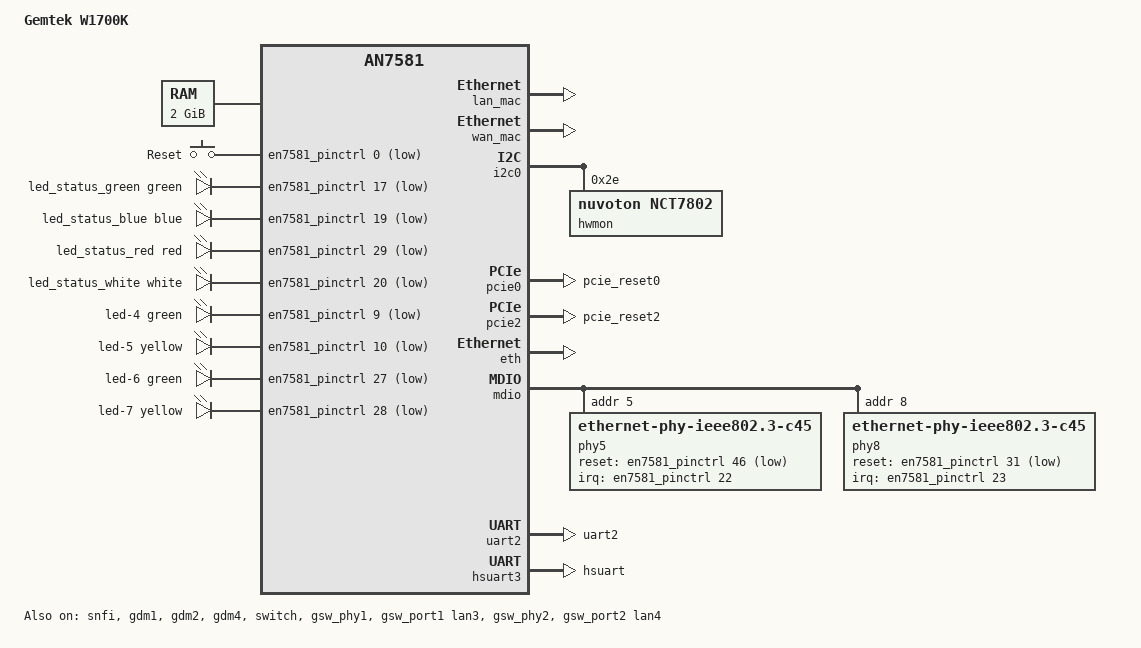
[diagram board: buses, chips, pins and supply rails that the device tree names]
// SPDX-License-Identifier: GPL-2.0-or-later OR MIT

/dts-v1/;

/* Bootloader installs ATF here */
/memreserve/ 0x80000000 0x200000;

#include <dt-bindings/leds/common.h>
#include <dt-bindings/gpio/gpio.h>
#include <dt-bindings/input/input.h>
#include "an7581.dtsi"

/ {
	model = "Gemtek W1700K";
	compatible = "gemtek,w1700k", "airoha,an7581";
	/* drop "airoha,en7581" as cpufreq doesn't work */

	aliases {
		serial0 = &uart1;
		led-boot = &led_status_red;
		led-failsafe = &led_status_blue;
		led-upgrade = &led_status_blue;
		led-running = &led_status_green;
	};

	chosen {
		bootargs = "console=ttyS0,115200 earlycon";
		stdout-path = "serial0:115200n8";
		linux,usable-memory-range = <0x0 0x80200000 0x0 0x7fe00000>;
	};

	memory@80000000 {
		device_type = "memory";
		reg = <0x0 0x80000000 0x0 0x80000000>;
	};

	keys {
		compatible = "gpio-keys";

		key-restart {
			label = "Reset";
			gpios = <&en7581_pinctrl 0 GPIO_ACTIVE_LOW>;
			linux,code = <KEY_RESTART>;
		};
	};

	leds {
		compatible = "gpio-leds";

		led_status_green: led-0 {
			color = <LED_COLOR_ID_GREEN>;
			function = LED_FUNCTION_STATUS;
			gpios = <&en7581_pinctrl 17 GPIO_ACTIVE_LOW>;
		};

		led_status_blue: led-1 {
			color = <LED_COLOR_ID_BLUE>;
			function = LED_FUNCTION_STATUS;
			gpios = <&en7581_pinctrl 19 GPIO_ACTIVE_LOW>;
		};

		led_status_red: led-2 {
			color = <LED_COLOR_ID_RED>;
			function = LED_FUNCTION_STATUS;
			gpios = <&en7581_pinctrl 29 GPIO_ACTIVE_LOW>;
		};

		led_status_white: led-3 {
			color = <LED_COLOR_ID_WHITE>;
			function = LED_FUNCTION_STATUS;
			gpios = <&en7581_pinctrl 20 GPIO_ACTIVE_LOW>;
		};

		led-4 {
			color = <LED_COLOR_ID_GREEN>;
			function = LED_FUNCTION_LAN;
			function-enumerator = <3>;
			gpios = <&en7581_pinctrl 9 GPIO_ACTIVE_LOW>;
		};

		led-5 {
			color = <LED_COLOR_ID_YELLOW>;
			function = LED_FUNCTION_LAN;
			function-enumerator = <3>;
			gpios = <&en7581_pinctrl 10 GPIO_ACTIVE_LOW>;
		};

		led-6 {
			color = <LED_COLOR_ID_GREEN>;
			function = LED_FUNCTION_LAN;
			function-enumerator = <4>;
			gpios = <&en7581_pinctrl 27 GPIO_ACTIVE_LOW>;
		};

		led-7 {
			color = <LED_COLOR_ID_YELLOW>;
			function = LED_FUNCTION_LAN;
			function-enumerator = <4>;
			gpios = <&en7581_pinctrl 28 GPIO_ACTIVE_LOW>;
		};
	};
};

&en7581_pinctrl {
	gpio-ranges = <&en7581_pinctrl 0 13 47>;

	mdio_pins: mdio-pins {
		mux {
			function = "mdio";
			groups = "mdio";
		};

		conf {
			pins = "gpio2";
			output-high;
		};
	};

	pcie0_rst_pins: pcie0-rst-pins {
		conf {
			pins = "pcie_reset0";
			drive-open-drain = <1>;
		};
	};

	pcie2_rst_pins: pcie2-rst-pins {
		conf {
			pins = "pcie_reset2";
			drive-open-drain = <1>;
		};
	};

	/* W1700K does not use the built-in LED controller. Instead, it uses GPIO.
	 * The driver fails to probe without gswpX_led0_pins defined, so put a dummy
	 * here.
	 */

	gswp1_led0_pins: gswp1-led0-pins {
		mux {
			function = "phy1_led0";
			pins = "gpio33";
		};
	};

	gswp2_led0_pins: gswp2-led0-pins {
		mux {
			function = "phy2_led0";
			pins = "gpio34";
		};
	};

	uart2_pins: uart2-pins {
		mux {
			function = "uart";
			groups = "uart2";
		};
	};

	hsuart_pins: hsuart-pins {
		mux {
			function = "uart";
			groups = "hsuart";
		};
	};
};

&snfi {
	status = "okay";
};

&spi_nand {
	#address-cells = <1>;
	#size-cells = <1>;
	partitions {
		compatible = "fixed-partitions";
		#address-cells = <1>;
		#size-cells = <1>;

		partition@0 {
			label = "bootloader";
			reg = <0x00000000 0x00200000>;
			read-only;
		};

		partition@200000 {
			label = "uenv";
			reg = <0x00200000 0x00200000>;
		};

		partition@400000 {
			label = "dsd";
			reg = <0x00400000 0x00200000>;
			read-only;

			nvmem-layout {
				compatible = "ascii-eq-delim-env";
				#address-cells = <1>;
				#size-cells = <1>;

				lan_mac: lan_mac {
					compatible = "mac-base";
					#nvmem-cell-cells = <1>;
				};

				wan_mac: wan_mac {
					compatible = "mac-base";
					#nvmem-cell-cells = <1>;
				};
			};

			nvmem-layout@5000 {
				compatible = "fixed-layout";
				#address-cells = <1>;
				#size-cells = <1>;

				eeprom_factory_5000: eeprom@5000 {
					reg = <0x5000 0x1e00>;
				};
			};
		};

		partition@600000 {
			label = "kernel";
			reg = <0x00600000 0x01000000>;
		};

		partition@1600000 {
			label = "rootfs";
			reg = <0x01600000 0x1e800000>;
			compatible = "linux,ubi";
		};

		/* reserved for bad block table */
		reserved_bmt@1fe00000 {
			label = "reserved_bmt";
			reg = <0x1fe00000 0x00200000>;
			read-only;
		};
	};
};

&i2c0 {
	status = "okay";

	hwmon@2e {
		compatible = "nuvoton,nct7802";
		reg = <0x2e>;
	};
};

&pcie0 {
	status = "okay";

	pinctrl-names = "default";
	pinctrl-0 = <&pcie0_rst_pins>;
	pcie@0,0 {
		reg = <0x0000 0 0 0 0>;
		device_type = "pci";
		#address-cells = <3>;
		#size-cells = <2>;

		mt7996@0,0 {
			reg = <0x0000 0 0 0 0>;
			#address-cells = <1>;
			#size-cells = <0>;
			nvmem-cells = <&eeprom_factory_5000>;
			nvmem-cell-names = "eeprom";
			airoha,npu = <&npu>;
			airoha,eth = <&eth>;
			ieee80211-freq-limit = <2400000 2500000>, <5170000 5895000>, <5945000 7125000>;

			band@0 {
				/* 2.4 GHz */
				reg = <0>;
				nvmem-cells = <&lan_mac 1>;
				nvmem-cell-names = "mac-address";
			};

			band@1 {
				/* 5 GHz */
				reg = <1>;
				nvmem-cells = <&lan_mac 2>;
				nvmem-cell-names = "mac-address";
			};

			band@2 {
				/* 6 GHz */
				reg = <2>;
				nvmem-cells = <&lan_mac 3>;
				nvmem-cell-names = "mac-address";
			};
		};
	};
};

&pcie2 {
	status = "okay";

	pinctrl-names = "default";
	pinctrl-0 = <&pcie2_rst_pins>;
};

&eth {
	status = "okay";
};

&gdm1 {
	status = "okay";

	nvmem-cells = <&lan_mac 0>;
	nvmem-cell-names = "mac-address";
};

&gdm2 {
	status = "okay";

	phy-handle = <&phy8>;
	phy-mode = "usxgmii";

	nvmem-cells = <&wan_mac 0>;
	nvmem-cell-names = "mac-address";
	openwrt,netdev-name = "wan";
};

&gdm4 {
	status = "okay";

	phy-handle = <&phy5>;
	phy-mode = "usxgmii";

	nvmem-cells = <&lan_mac 0>;
	nvmem-cell-names = "mac-address";
	openwrt,netdev-name = "lan2";
};

&switch {
	status = "okay";

	pinctrl-names = "default";
	pinctrl-0 = <&mdio_pins>;

	mdio {
		phy5: ethernet-phy@5 {
			compatible = "ethernet-phy-ieee802.3-c45";
			reg = <5>;
			reset-gpios = <&en7581_pinctrl 46 GPIO_ACTIVE_LOW>;
			reset-assert-us = <40000>;
			reset-deassert-us = <150000>;
			interrupt-parent = <&en7581_pinctrl>;
			interrupts = <22 IRQ_TYPE_LEVEL_LOW>;
			realtek,pnswap-tx;
			realtek,pnswap-rx;
		};

		phy8: ethernet-phy@8 {
			compatible = "ethernet-phy-ieee802.3-c45";
			reg = <8>;
			reset-gpios = <&en7581_pinctrl 31 GPIO_ACTIVE_LOW>;
			reset-assert-us = <40000>;
			reset-deassert-us = <150000>;
			interrupt-parent = <&en7581_pinctrl>;
			interrupts = <23 IRQ_TYPE_LEVEL_LOW>;
			realtek,pnswap-tx;
			realtek,pnswap-rx;
		};
	};
};

&gsw_phy1 {
	status = "okay";
	pinctrl-names = "gbe-led";
	pinctrl-0 = <&gswp1_led0_pins>;
};

&gsw_port1 {
	status = "okay";
	label = "lan3";
};

&gsw_phy2 {
	status = "okay";
	pinctrl-names = "gbe-led";
	pinctrl-0 = <&gswp2_led0_pins>;
};

&gsw_port2 {
	status = "okay";
	label = "lan4";
};

&uart2 {
	status = "okay";
	pinctrl-names = "default";
	pinctrl-0 = <&uart2_pins>;
};

&hsuart3 {
	status = "okay";
	pinctrl-names = "default";
	pinctrl-0 = <&hsuart_pins>;
};
